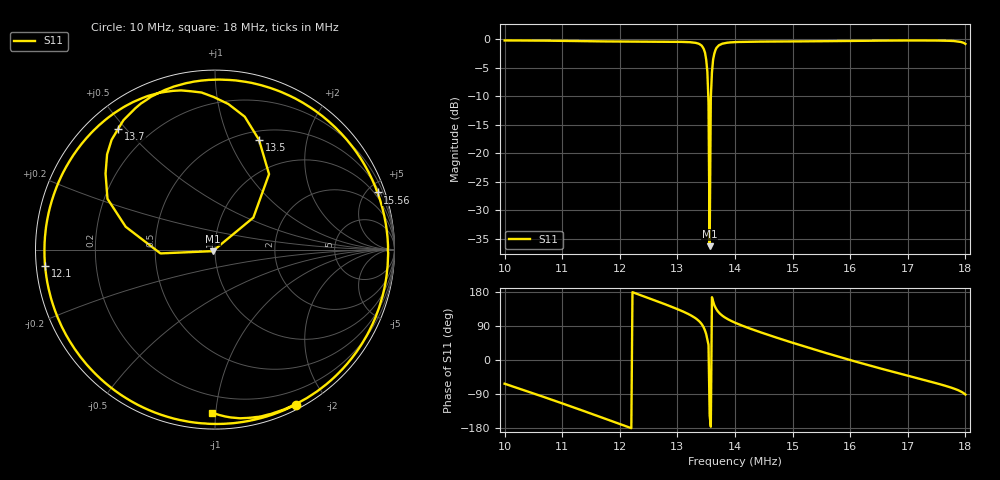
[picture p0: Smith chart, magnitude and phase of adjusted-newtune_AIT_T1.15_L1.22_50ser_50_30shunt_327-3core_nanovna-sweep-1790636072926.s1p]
! NanoVNA Web complex sweep
! Processing: original sample grid, no browser smoothing
# Hz S RI R 50
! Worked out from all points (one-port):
!   401 points, 10 MHz to 18 MHz, reference 50 ohm
!   lowest |S11| = -36.3 dB at 13.56 MHz (marker M1), VSWR 1.03, Z = 48.7 - j0.836 ohm
!   |S11| at or under -10 dB: 13.5359 MHz to 13.58143 MHz (45.53 kHz wide, 0.336 % of centre)
!   S11 on the Smith chart (normalised r, x): 10 MHz: 0.05, -1.64; 12.1 MHz: 0.03, -0.05; 13.5 MHz: 0.60, +1.30; 13.7 MHz: 0.09, +0.48; 15.56 MHz: 0.71, +5.78; 18 MHz: 0.09, -0.98
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1e7  0.4487 -0.8643
1.052e7  0.0141 -0.9715
1.1e7  -0.4004 -0.8796
1.154e7  -0.7715 -0.5683
1.2e7  -0.9342 -0.1838
1.21e7  -0.9465 -0.093
1.256e7  -0.8917 0.3246
1.3e7  -0.6611 0.6783
1.324e7  -0.43 0.8337
1.338e7  -0.1886 0.887
1.346e7  0.0746 0.8109
1.35e7  0.2448 0.6124
1.352e7  0.3012 0.4204
1.356e7  -0.0126 -0.00858
1.36e7  -0.4975 0.1272
1.362e7  -0.5989 0.2828
1.366e7  -0.6012 0.5306
1.37e7  -0.5404 0.6714
1.382e7  -0.3558 0.852
1.4e7  -0.1396 0.9312
1.446e7  0.2894 0.9067
1.5e7  0.6699 0.681
1.556e7  0.9055 0.3182
1.6e7  0.9622 -0.00391
1.648e7  0.9086 -0.3392
1.7e7  0.729 -0.6448
1.766e7  0.3561 -0.901
1.8e7  -0.0183 -0.9082
